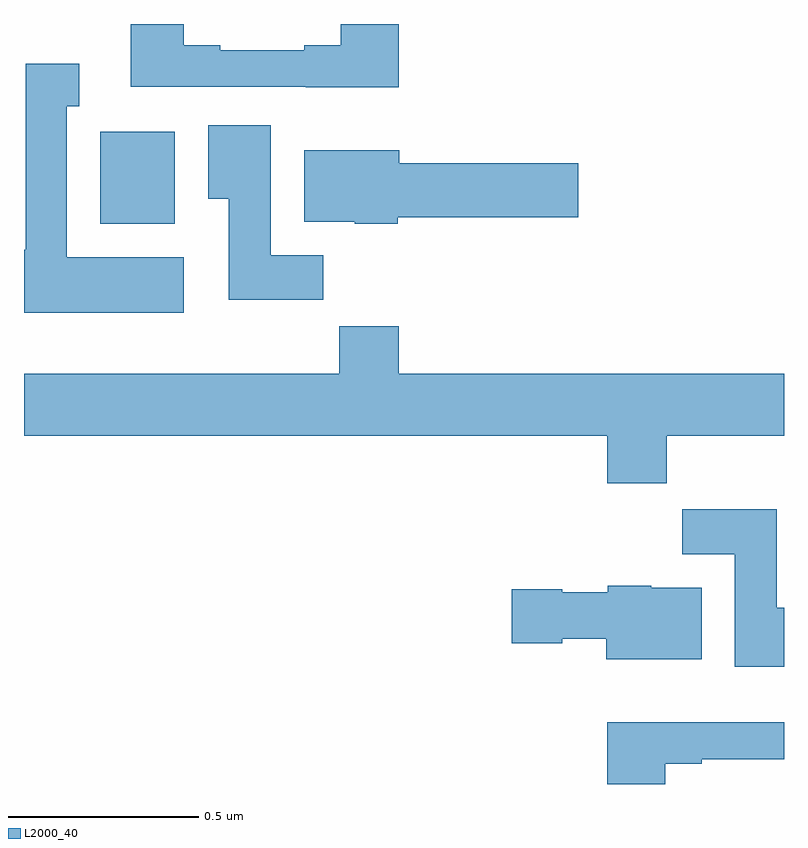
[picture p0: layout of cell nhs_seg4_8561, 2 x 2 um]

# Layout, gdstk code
import gdstk
lib = gdstk.Library(unit=1e-6, precision=1e-09)
def R(c, l, rs):  # rectangles x0, y0, x1, y1
    for r in rs: c.add(gdstk.rectangle(r[:2], r[2:], *l))
def P(c, l, *ps):  # polygons
    for p in ps: c.add(gdstk.Polygon(p, *l))
L2000_40 = (2000, 40)

nhs_seg4_8561 = lib.new_cell('nhs_seg4_8561')
R(nhs_seg4_8561, L2000_40, [(216.2,801.374,216.397,801.616)])
P(nhs_seg4_8561, L2000_40, [(216.986,801.9),(216.833,801.9),(216.833,801.844),(216.737,801.844),(216.737,801.831),(216.517,801.831),(216.517,801.844),(216.421,801.844),(216.421,801.9),(216.281,801.9),(216.281,801.735),(216.741,801.735),(216.741,801.734),(216.986,801.734)],
  [(216.421,801.286),(216.112,801.286),(216.112,801.683),(216.145,801.683),(216.145,801.796),(216.005,801.796),(216.005,801.306),(216,801.306),(216,801.14),(216.421,801.14)],
  [(216.788,801.292),(216.649,801.292),(216.649,801.634),(216.485,801.634),(216.485,801.44),(216.539,801.44),(216.539,801.174),(216.788,801.174)],
  [(216.984,801.391),(217.459,801.391),(217.459,801.533),(216.988,801.533),(216.988,801.568),(216.737,801.568),(216.737,801.38),(216.87,801.38),(216.87,801.374),(216.984,801.374)],
  [(216.829,801.104),(216.829,800.98),(216,800.98),(216,800.816),(217.535,800.816),(217.535,800.692),(217.691,800.692),(217.691,800.816),(218,800.816),(218,800.98),(216.986,800.98),(216.986,801.104)],
  [(218,800.364),(217.981,800.364),(217.981,800.623),(217.732,800.623),(217.732,800.504),(217.871,800.504),(217.871,800.208),(218,800.208)],
  [(217.783,800.416),(217.65,800.416),(217.65,800.422),(217.536,800.422),(217.536,800.404),(217.416,800.404),(217.416,800.412),(217.284,800.412),(217.284,800.27),(217.416,800.27),(217.416,800.282),(217.532,800.282),(217.532,800.228),(217.783,800.228)],
  [(217.687,799.953),(217.783,799.953),(217.783,799.965),(218,799.965),(218,800.062),(217.535,800.062),(217.535,799.9),(217.687,799.9)])

lib.write_gds('nhs_seg4_8561.gds')
